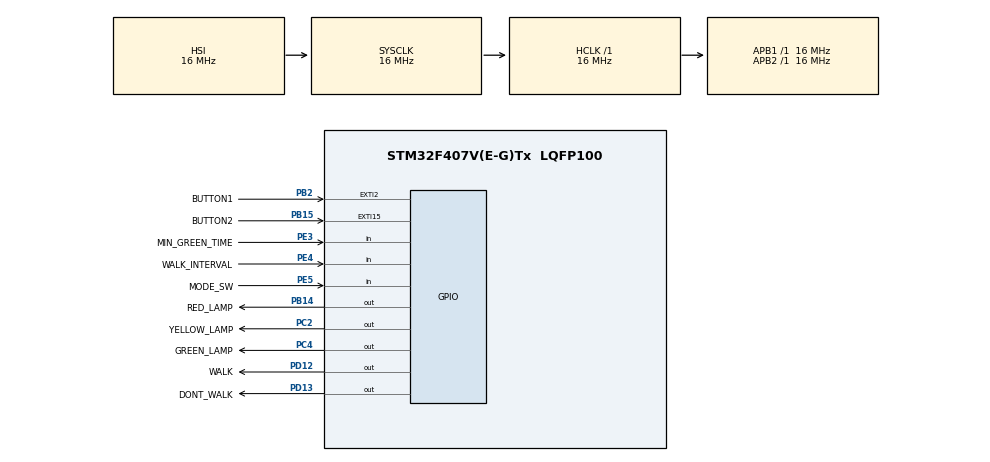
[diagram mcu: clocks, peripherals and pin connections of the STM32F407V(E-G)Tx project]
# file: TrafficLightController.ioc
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Mcu.Family=STM32F4
Mcu.Name=STM32F407V(E-G)Tx
Mcu.Package=LQFP100
NVIC.EXTI15_10_IRQn=true\:0\:0\:false\:false\:true\:true\:true
NVIC.EXTI2_IRQn=true\:0\:0\:false\:false\:true\:true\:true
NVIC.PriorityGroup=NVIC_PRIORITYGROUP_4
PA13.Mode=Serial_Wire
PA13.Signal=SYS_JTMS-SWDIO
PA14.Mode=Serial_Wire
PA14.Signal=SYS_JTCK-SWCLK
PB14.GPIO_Label=RED_LAMP
PB14.Signal=GPIO_Output
PB15.GPIO_Label=BUTTON2
PB15.Signal=GPXTI15
PB2.GPIO_Label=BUTTON1
PB2.GPIO_ModeDefaultEXTI=GPIO_MODE_IT_FALLING
PB2.Signal=GPXTI2
PC2.GPIO_Label=YELLOW_LAMP
PC2.Signal=GPIO_Output
PC4.GPIO_Label=GREEN_LAMP
PC4.Signal=GPIO_Output
PD12.GPIO_Label=WALK
PD12.Signal=GPIO_Output
PD13.GPIO_Label=DONT_WALK
PD13.Signal=GPIO_Output
PE3.GPIO_Label=MIN_GREEN_TIME
PE3.Signal=GPIO_Input
PE4.GPIO_Label=WALK_INTERVAL
PE4.Signal=GPIO_Input
PE5.GPIO_Label=MODE_SW
PE5.Signal=GPIO_Input
ProjectManager.HeapSize=0x200
ProjectManager.StackSize=0x400
ProjectManager.TargetToolchain=MDK-ARM V5
RCC.AHBFreq_Value=16000000
RCC.APB1Freq_Value=16000000
RCC.APB2Freq_Value=16000000
RCC.CortexFreq_Value=16000000
RCC.HSE_VALUE=25000000
RCC.HSI_VALUE=16000000
RCC.LSE_VALUE=32768
RCC.SYSCLKFreq_VALUE=16000000
RCC.VCOOutputFreq_Value=192000000
board=custom

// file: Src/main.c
/* USER CODE BEGIN Header */
/**
  ******************************************************************************
  * @file           : main.c
  * @brief          : Main program body
  ******************************************************************************
  * @attention
  *
  * <h2><center>&copy; Copyright (c) 2019 STMicroelectronics.
  * All rights reserved.</center></h2>
  *
  * This software component is licensed by ST under BSD 3-Clause license,
  * the "License"; You may not use this file except in compliance with the
  * License. You may obtain a copy of the License at:
  *                        opensource.org/licenses/BSD-3-Clause
  *
  ******************************************************************************
  */
/* USER CODE END Header */

#include "main.h"

/* USER CODE BEGIN Includes */
#include <stdio.h>
#include "bsp.h"
#include "timer.h"
#include "ctrler.h"
/* USER CODE END Includes */

void SystemClock_Config(void);
static void MX_GPIO_Init(void);

/* USER CODE BEGIN 0 */
int fputc(int ch, FILE *f)
{
    return ITM_SendChar(ch);
}

Event_t Event_Detect()
{
    Event_t evt = NO_EVT;
		if(Timeout_Status){
			evt = TIMEOUT;
			Timeout_Status = 0;
		}

		if (Button_Status){
			evt = BUTTON;
			Button_Status = 0;
		}
		if(MODE_READ()){ //out of service switch
			evt = MODE_CHANGE;
		}
    return evt;
}
/* USER CODE END 0 */

int main(void)
{

  /* MCU Configuration--------------------------------------------------------*/

  /* Reset of all peripherals, Initializes the Flash interface and the Systick. */
  HAL_Init();

  /* Configure the system clock */
  SystemClock_Config();

  /* Initialize all configured peripherals */
  MX_GPIO_Init();

  /* Infinite loop */
  while (1)
  {

    /* USER CODE BEGIN 3 */

    Event_t evt = Event_Detect();   //detect event
    uint32_t timeout_value = Ctrler_Exec(evt); //Execute state machine, return timeout
    Timeout_Config(timeout_value); //set timeout value in timer
	  MIN_GREEN_TIME = GREEN_TIME_READ() ? 600:1200;
		WALK_INTERVAL = WALK_READ() ? 100:200;
    Delay(1);
  }
  /* USER CODE END 3 */
}

void SystemClock_Config(void)
{
  RCC_OscInitTypeDef RCC_OscInitStruct = {0};
  RCC_ClkInitTypeDef RCC_ClkInitStruct = {0};

  /** Configure the main internal regulator output voltage
  */
  __HAL_RCC_PWR_CLK_ENABLE();
  __HAL_PWR_VOLTAGESCALING_CONFIG(PWR_REGULATOR_VOLTAGE_SCALE1);
  /** Initializes the CPU, AHB and APB busses clocks
  */
  RCC_OscInitStruct.OscillatorType = RCC_OSCILLATORTYPE_HSI;
  RCC_OscInitStruct.HSIState = RCC_HSI_ON;
  RCC_OscInitStruct.HSICalibrationValue = RCC_HSICALIBRATION_DEFAULT;
  RCC_OscInitStruct.PLL.PLLState = RCC_PLL_NONE;
  if (HAL_RCC_OscConfig(&RCC_OscInitStruct) != HAL_OK)
  {
    Error_Handler();
  }
  /** Initializes the CPU, AHB and APB busses clocks
  */
  RCC_ClkInitStruct.ClockType = RCC_CLOCKTYPE_HCLK|RCC_CLOCKTYPE_SYSCLK
                              |RCC_CLOCKTYPE_PCLK1|RCC_CLOCKTYPE_PCLK2;
  RCC_ClkInitStruct.SYSCLKSource = RCC_SYSCLKSOURCE_HSI;
  RCC_ClkInitStruct.AHBCLKDivider = RCC_SYSCLK_DIV1;
  RCC_ClkInitStruct.APB1CLKDivider = RCC_HCLK_DIV1;
  RCC_ClkInitStruct.APB2CLKDivider = RCC_HCLK_DIV1;

  if (HAL_RCC_ClockConfig(&RCC_ClkInitStruct, FLASH_LATENCY_0) != HAL_OK)
  {
    Error_Handler();
  }
}

static void MX_GPIO_Init(void)
{
  GPIO_InitTypeDef GPIO_InitStruct = {0};

  /* GPIO Ports Clock Enable */
  __HAL_RCC_GPIOE_CLK_ENABLE();
  __HAL_RCC_GPIOC_CLK_ENABLE();
  __HAL_RCC_GPIOB_CLK_ENABLE();
  __HAL_RCC_GPIOD_CLK_ENABLE();
  __HAL_RCC_GPIOA_CLK_ENABLE();

  /*Configure GPIO pin Output Level */
  HAL_GPIO_WritePin(GPIOC, YELLOW_LAMP_Pin|GREEN_LAMP_Pin, GPIO_PIN_RESET);

  /*Configure GPIO pin Output Level */
  HAL_GPIO_WritePin(RED_LAMP_GPIO_Port, RED_LAMP_Pin, GPIO_PIN_RESET);

  /*Configure GPIO pin Output Level */
  HAL_GPIO_WritePin(GPIOD, WALK_Pin|DONT_WALK_Pin, GPIO_PIN_RESET);

  /*Configure GPIO pins : MIN_GREEN_TIME_Pin WALK_INTERVAL_Pin MODE_SW_Pin */
  GPIO_InitStruct.Pin = MIN_GREEN_TIME_Pin|WALK_INTERVAL_Pin|MODE_SW_Pin;
  GPIO_InitStruct.Mode = GPIO_MODE_INPUT;
  GPIO_InitStruct.Pull = GPIO_NOPULL;
  HAL_GPIO_Init(GPIOE, &GPIO_InitStruct);

  /*Configure GPIO pins : YELLOW_LAMP_Pin GREEN_LAMP_Pin */
  GPIO_InitStruct.Pin = YELLOW_LAMP_Pin|GREEN_LAMP_Pin;
  GPIO_InitStruct.Mode = GPIO_MODE_OUTPUT_PP;
  GPIO_InitStruct.Pull = GPIO_NOPULL;
  GPIO_InitStruct.Speed = GPIO_SPEED_FREQ_LOW;
  HAL_GPIO_Init(GPIOC, &GPIO_InitStruct);

  /*Configure GPIO pin : BUTTON1_Pin */
  GPIO_InitStruct.Pin = BUTTON1_Pin;
  GPIO_InitStruct.Mode = GPIO_MODE_IT_FALLING;
  GPIO_InitStruct.Pull = GPIO_NOPULL;
  HAL_GPIO_Init(BUTTON1_GPIO_Port, &GPIO_InitStruct);

  /*Configure GPIO pin : RED_LAMP_Pin */
  GPIO_InitStruct.Pin = RED_LAMP_Pin;
  GPIO_InitStruct.Mode = GPIO_MODE_OUTPUT_PP;
  GPIO_InitStruct.Pull = GPIO_NOPULL;
  GPIO_InitStruct.Speed = GPIO_SPEED_FREQ_LOW;
  HAL_GPIO_Init(RED_LAMP_GPIO_Port, &GPIO_InitStruct);

  /*Configure GPIO pin : BUTTON2_Pin */
  GPIO_InitStruct.Pin = BUTTON2_Pin;
  GPIO_InitStruct.Mode = GPIO_MODE_IT_RISING;
  GPIO_InitStruct.Pull = GPIO_NOPULL;
  HAL_GPIO_Init(BUTTON2_GPIO_Port, &GPIO_InitStruct);

  /*Configure GPIO pins : WALK_Pin DONT_WALK_Pin */
  GPIO_InitStruct.Pin = WALK_Pin|DONT_WALK_Pin;
  GPIO_InitStruct.Mode = GPIO_MODE_OUTPUT_PP;
  GPIO_InitStruct.Pull = GPIO_NOPULL;
  GPIO_InitStruct.Speed = GPIO_SPEED_FREQ_LOW;
  HAL_GPIO_Init(GPIOD, &GPIO_InitStruct);

  /* EXTI interrupt init*/
  HAL_NVIC_SetPriority(EXTI2_IRQn, 0, 0);
  HAL_NVIC_EnableIRQ(EXTI2_IRQn);

  HAL_NVIC_SetPriority(EXTI15_10_IRQn, 0, 0);
  HAL_NVIC_EnableIRQ(EXTI15_10_IRQn);

}

void Error_Handler(void)
{
}

/************************ (C) COPYRIGHT STMicroelectronics *****END OF FILE****/
